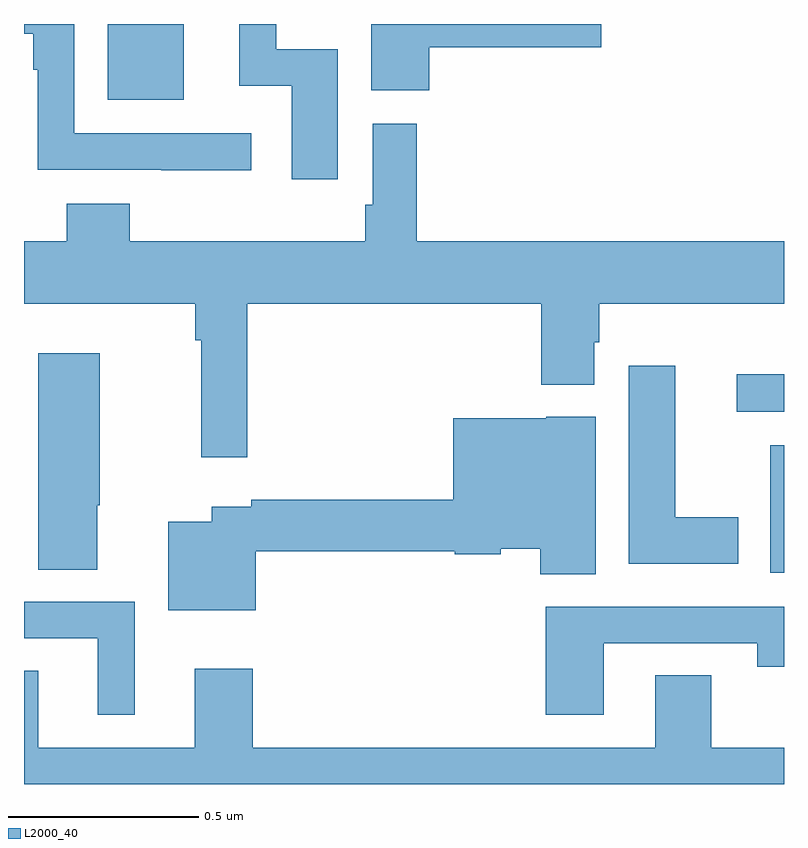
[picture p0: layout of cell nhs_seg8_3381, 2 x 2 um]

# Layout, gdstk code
import gdstk
lib = gdstk.Library(unit=1e-6, precision=1e-09)
def R(c, l, rs):  # rectangles x0, y0, x1, y1
    for r in rs: c.add(gdstk.rectangle(r[:2], r[2:], *l))
def P(c, l, *ps):  # polygons
    for p in ps: c.add(gdstk.Polygon(p, *l))
L2000_40 = (2000, 40)

nhs_seg8_3381 = lib.new_cell('nhs_seg8_3381')
R(nhs_seg8_3381, L2000_40, [(157.964,1118.456,158,1118.791), (157.875,1118.88,158,1118.978), (156.221,1119.701,156.421,1119.9)])
P(nhs_seg8_3381, L2000_40, [(156.826,1119.834),(156.664,1119.834),(156.664,1119.9),(156.566,1119.9),(156.566,1119.738),(156.704,1119.738),(156.704,1119.492),(156.826,1119.492)],
  [(157.067,1119.839),(157.519,1119.839),(157.519,1119.9),(156.914,1119.9),(156.914,1119.726),(157.067,1119.726)],
  [(156.598,1119.612),(156.132,1119.612),(156.132,1119.9),(156,1119.9),(156,1119.875),(156.024,1119.875),(156.024,1119.779),(156.036,1119.779),(156.036,1119.516),(156.361,1119.516),(156.361,1119.515),(156.598,1119.515)],
  [(156.587,1119.164),(157.361,1119.164),(157.361,1118.951),(157.501,1118.951),(157.501,1119.063),(157.514,1119.063),(157.514,1119.164),(158,1119.164),(158,1119.328),(157.034,1119.328),(157.034,1119.637),(156.918,1119.637),(156.918,1119.424),(156.898,1119.424),(156.898,1119.328),(156.278,1119.328),(156.278,1119.427),(156.113,1119.427),(156.113,1119.328),(156,1119.328),(156,1119.164),(156.451,1119.164),(156.451,1119.068),(156.466,1119.068),(156.466,1118.76),(156.587,1118.76)],
  [(156.193,1118.634),(156.199,1118.634),(156.199,1119.034),(156.038,1119.034),(156.038,1118.464),(156.193,1118.464)],
  [(157.879,1118.602),(157.714,1118.602),(157.714,1119.001),(157.592,1119.001),(157.592,1118.48),(157.879,1118.48)],
  [(156.61,1118.512),(157.134,1118.512),(157.134,1118.504),(157.254,1118.504),(157.254,1118.519),(157.358,1118.519),(157.358,1118.452),(157.504,1118.452),(157.504,1118.866),(157.374,1118.866),(157.374,1118.863),(157.13,1118.863),(157.13,1118.648),(156.598,1118.648),(156.598,1118.629),(156.494,1118.629),(156.494,1118.59),(156.38,1118.59),(156.38,1118.357),(156.61,1118.357)],
  [(156.292,1118.379),(156,1118.379),(156,1118.283),(156.194,1118.283),(156.194,1118.082),(156.292,1118.082)],
  [(157.525,1118.271),(157.93,1118.271),(157.93,1118.208),(158,1118.208),(158,1118.367),(157.373,1118.367),(157.373,1118.082),(157.525,1118.082)],
  [(158,1117.996),(157.809,1117.996),(157.809,1118.186),(157.661,1118.186),(157.661,1117.996),(156.602,1117.996),(156.602,1118.203),(156.449,1118.203),(156.449,1117.996),(156.037,1117.996),(156.037,1118.198),(156,1118.198),(156,1117.9),(158,1117.9)])

lib.write_gds('nhs_seg8_3381.gds')
